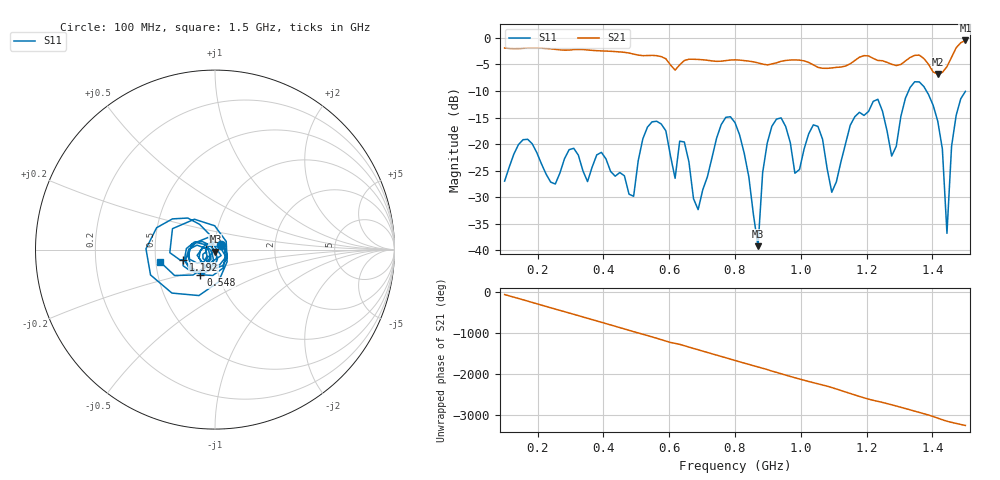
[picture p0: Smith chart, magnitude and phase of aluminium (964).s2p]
! NanoVNA-App
! Date: 2025-09-25 15:02:47
! Start: 100MHz Stop: 1,5GHz Points: 101
! S-Parameter data: F S11 S21 S12 S22
# Hz S RI R 50
!  Frequency  S11_Real  S11_Imag  S21_Real  S21_Imag  S12_Real  S12_Imag  S22_Real  S22_Imag
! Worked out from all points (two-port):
!   101 points, 100 MHz to 1.5 GHz, reference 50 ohm
!   highest |S21| = -0.50 dB at 1.5 GHz (marker M1); lowest = -6.8 dB at 1.416 GHz (marker M2)
!   |S21| within 3 dB of the highest: start of sweep to 573 MHz; 1.459 GHz to end of sweep (the widest 2 of 4)
!   lowest |S11| = -39.2 dB at 870 MHz (marker M3), VSWR 1.02, Z = 50.2 - j1.08 ohm
!   |S11| at or under -10 dB: start of sweep to 1.327 GHz; 1.382 GHz to end of sweep
!   S12 and S22 are empty: the file has one direction only
!   S11 on the Smith chart (normalised r, x): 100 MHz: 1.07, +0.06; 548 MHz: 0.82, -0.24; 1.192 GHz: 0.69, -0.08; 1.5 GHz: 0.53, -0.08
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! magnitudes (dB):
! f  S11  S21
! 100 MHz  -27.0  -1.9
! 156 MHz  -19.2  -2.0
! 338 MHz  -25.0  -2.2
! 492 MHz  -29.8  -3.1
! 548 MHz  -15.8  -3.3
! 576 MHz  -16.2  -3.5
! 646 MHz  -19.6  -4.3
! 688 MHz  -32.3  -4.1
! 800 MHz  -16.0  -4.1
! 870 MHz  -39.2  -4.7
! 912 MHz  -16.6  -4.9
! 982 MHz  -25.5  -4.2
! 1.038 GHz  -16.4  -5.1
! 1.094 GHz  -29.0  -5.7
! 1.192 GHz  -14.6  -3.4
! 1.234 GHz  -11.6  -4.3
! 1.276 GHz  -22.2  -5.0
! 1.346 GHz  -8.3  -3.3
! 1.416 GHz  -15.7  -6.8
! 1.444 GHz  -36.8  -5.4
! 1.458 GHz  -20.4  -3.7
! 1.5 GHz  -10.1  -0.5
